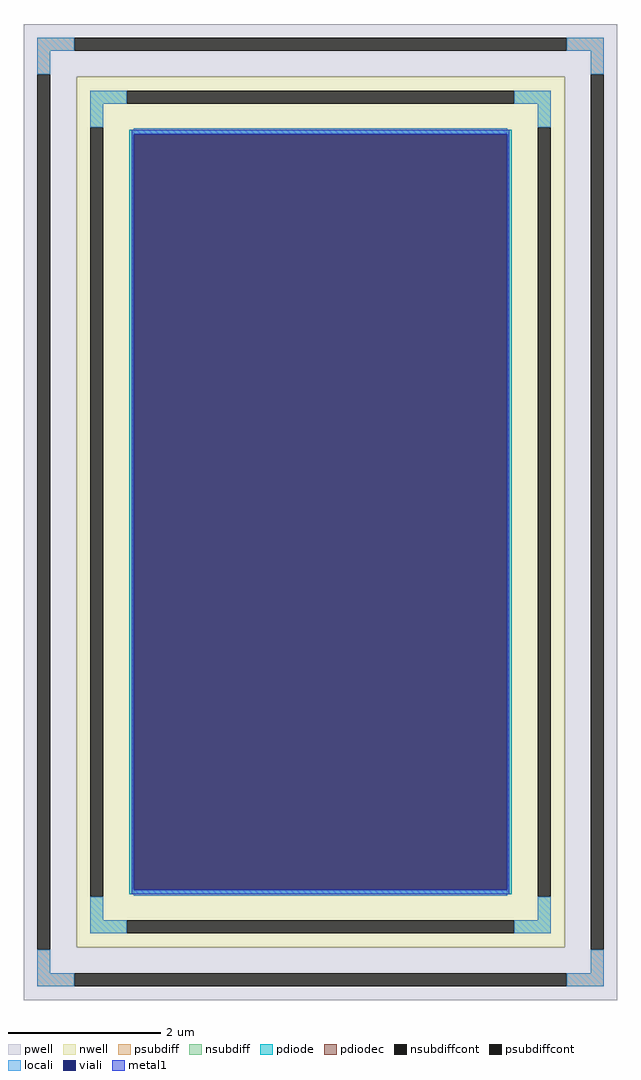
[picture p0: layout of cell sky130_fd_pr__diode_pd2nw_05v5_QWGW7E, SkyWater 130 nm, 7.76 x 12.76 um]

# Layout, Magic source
magic
tech sky130B
<< nwell >>
rect -319 -569 319 569
<< pwell >>
rect -388 569 388 638
rect -388 -569 -319 569
rect 319 -569 388 569
rect -388 -638 388 -569
<< psubdiff >>
rect -370 603 -322 620
rect 322 603 370 620
rect -370 572 -353 603
rect 353 572 370 603
rect -370 -603 -353 -572
rect 353 -603 370 -572
rect -370 -620 -322 -603
rect 322 -620 370 -603
<< nsubdiff >>
rect -301 534 -253 551
rect 253 534 301 551
rect -301 503 -284 534
rect 284 503 301 534
rect -301 -534 -284 -503
rect 284 -534 301 -503
rect -301 -551 -253 -534
rect 253 -551 301 -534
<< psubdiffcont >>
rect -322 603 322 620
rect -370 -572 -353 572
rect 353 -572 370 572
rect -322 -620 322 -603
<< nsubdiffcont >>
rect -253 534 253 551
rect -301 -503 -284 503
rect 284 -503 301 503
rect -253 -551 253 -534
<< pdiode >>
rect -250 494 250 500
rect -250 -494 -244 494
rect 244 -494 250 494
rect -250 -500 250 -494
<< pdiodec >>
rect -244 -494 244 494
<< locali >>
rect -370 603 -322 620
rect 322 603 370 620
rect -370 572 -353 603
rect 353 572 370 603
rect -301 534 -253 551
rect 253 534 301 551
rect -301 503 -284 534
rect 284 503 301 534
rect -244 494 244 502
rect -244 -502 244 -494
rect -301 -534 -284 -503
rect 284 -534 301 -503
rect -301 -551 -253 -534
rect 253 -551 301 -534
rect -370 -603 -353 -572
rect 353 -603 370 -572
rect -370 -620 -322 -603
rect 322 -620 370 -603
<< viali >>
rect -244 -494 244 494
<< metal1 >>
rect -247 494 247 500
rect -247 -494 -244 494
rect 244 -494 247 494
rect -247 -500 247 -494
<< properties >>
string FIXED_BBOX -292 -542 292 542
string gencell sky130_fd_pr__diode_pd2nw_05v5
string library sky130
string parameters w 5 l 10 area 50.0 peri 30.0 nx 1 ny 1 dummy 0 lmin 0.45 wmin 0.45 elc 1 erc 1 etc 1 ebc 1 glc 1 grc 1 gtc 1 gbc 1 doverlap 0 compatible {sky130_fd_pr__diode_pd2nw_05v5 sky130_fd_pr__diode_pd2nw_05v5_lvt  sky130_fd_pr__diode_pd2nw_05v5_hvt sky130_fd_pr__diode_pd2nw_11v0} full_metal 1 vias 1 viagb 0 viagt 0 viagl 0 viagr 0
<< end >>
